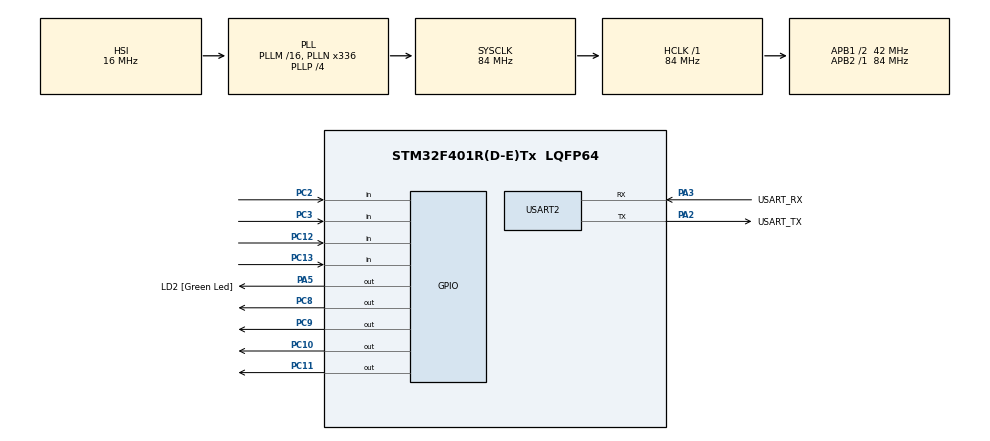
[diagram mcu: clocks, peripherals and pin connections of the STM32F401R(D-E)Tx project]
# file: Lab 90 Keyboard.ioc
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Mcu.Family=STM32F4
Mcu.Name=STM32F401R(D-E)Tx
Mcu.Package=LQFP64
NVIC.PriorityGroup=NVIC_PRIORITYGROUP_0
PA13.GPIO_Label=TMS
PA13.Mode=Serial_Wire
PA13.Signal=SYS_JTMS-SWDIO
PA14.GPIO_Label=TCK
PA14.Mode=Serial_Wire
PA14.Signal=SYS_JTCK-SWCLK
PA2.GPIO_Label=USART_TX
PA2.GPIO_Mode=GPIO_MODE_AF_PP
PA2.GPIO_PuPd=GPIO_NOPULL
PA2.GPIO_Speed=GPIO_SPEED_FREQ_LOW
PA2.Mode=Asynchronous
PA2.Signal=USART2_TX
PA3.GPIO_Label=USART_RX
PA3.GPIO_Mode=GPIO_MODE_AF_PP
PA3.GPIO_PuPd=GPIO_NOPULL
PA3.GPIO_Speed=GPIO_SPEED_FREQ_LOW
PA3.Mode=Asynchronous
PA3.Signal=USART2_RX
PA5.GPIO_Label=LD2 [Green Led]
PA5.GPIO_Mode=GPIO_MODE_OUTPUT_PP
PA5.GPIO_PuPd=GPIO_NOPULL
PA5.GPIO_Speed=GPIO_SPEED_FREQ_LOW
PA5.Signal=GPIO_Output
PB3.GPIO_Label=SWO
PB3.Signal=SYS_JTDO-SWO
PC10.Signal=GPIO_Output
PC11.Signal=GPIO_Output
PC12.Signal=GPIO_Input
PC13-ANTI_TAMP.Signal=GPIO_Input
PC14-OSC32_IN.Mode=LSE-External-Oscillator
PC14-OSC32_IN.Signal=RCC_OSC32_IN
PC15-OSC32_OUT.Mode=LSE-External-Oscillator
PC15-OSC32_OUT.Signal=RCC_OSC32_OUT
PC2.Signal=GPIO_Input
PC3.Signal=GPIO_Input
PC8.Signal=GPIO_Output
PC9.Signal=GPIO_Output
PH0\ -\ OSC_IN.Mode=HSE-External-Clock-Source
PH0\ -\ OSC_IN.Signal=RCC_OSC_IN
PH1\ -\ OSC_OUT.Mode=HSE-External-Clock-Source
PH1\ -\ OSC_OUT.Signal=RCC_OSC_OUT
ProjectManager.HeapSize=0x200
ProjectManager.StackSize=0x400
ProjectManager.TargetToolchain=STM32CubeIDE
RCC.48MHZClocksFreq_Value=48000000
RCC.AHBFreq_Value=84000000
RCC.APB1CLKDivider=RCC_HCLK_DIV2
RCC.APB1Freq_Value=42000000
RCC.APB1TimFreq_Value=84000000
RCC.APB2Freq_Value=84000000
RCC.APB2TimFreq_Value=84000000
RCC.CortexFreq_Value=84000000
RCC.HCLKFreq_Value=84000000
RCC.HSE_VALUE=8000000
RCC.HSI_VALUE=16000000
RCC.PLLN=336
RCC.PLLP=RCC_PLLP_DIV4
RCC.PLLQ=7
RCC.SYSCLKFreq_VALUE=84000000
RCC.SYSCLKSource=RCC_SYSCLKSOURCE_PLLCLK
RCC.VCOOutputFreq_Value=336000000
USART2.VirtualMode=VM_ASYNC
board=NUCLEO-F401RE

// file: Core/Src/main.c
/* USER CODE BEGIN Header */
/**
  ******************************************************************************
  * @file           : main.c
  * @brief          : Main program body
  ******************************************************************************
  * @attention
  *
  * Copyright (c) 2023 STMicroelectronics.
  * All rights reserved.
  *
  * This software is licensed under terms that can be found in the LICENSE file
  * in the root directory of this software component.
  * If no LICENSE file comes with this software, it is provided AS-IS.
  *
  ******************************************************************************
  */
/* USER CODE END Header */
#include "main.h"

UART_HandleTypeDef huart2;

/* USER CODE BEGIN PV */
//uint16_t input[] = {GPIO_PIN_2, GPIO_PIN_3, GPIO_PIN_12, GPIO_PIN_13};
uint16_t input[] = {GPIO_PIN_3, GPIO_PIN_2, GPIO_PIN_13, GPIO_PIN_12};
uint16_t output[] = {GPIO_PIN_8, GPIO_PIN_9, GPIO_PIN_10, GPIO_PIN_11};

/* USER CODE END PV */

void SystemClock_Config(void);
static void MX_GPIO_Init(void);
static void MX_USART2_UART_Init(void);

int main(void)
{

  /* MCU Configuration--------------------------------------------------------*/

  /* Reset of all peripherals, Initializes the Flash interface and the Systick. */
  HAL_Init();

  /* Configure the system clock */
  SystemClock_Config();

  /* Initialize all configured peripherals */
  MX_GPIO_Init();
  MX_USART2_UART_Init();
  /* USER CODE BEGIN 2 */
  char state[16];
  for(int i = 0; i < 16; i++){
	  state[i] = 0;
  }
  char lett[16] = {'C', 'D', 'E', 'F', '8', '9', 'A', 'B', '4', '5', '6', '7', '0', '1', '2', '3'};
  /* USER CODE END 2 */

  /* Infinite loop */
  /* USER CODE BEGIN WHILE */
  while (1)
  {
	  char string[128];
	  for(int i = 0; i < 4; i++){
		  HAL_GPIO_WritePin(GPIOC, output[i], 1);
		  HAL_Delay(10);
		  for(int j = 0; j < 4; j++){
			  int on = !HAL_GPIO_ReadPin(GPIOC, input[j]);
			  if( on && state[i+j*4] == 0){
				  int size = sprintf(string, "%c\r\n", lett[i+j*4]);
				  HAL_UART_Transmit(&huart2, string, size, 50);
				  state[i+j*4] = 1;
			  }else if(!on && state[i+j*4] == 1){
				  state[i+j*4] = 0;
			  }
		  }
		  HAL_GPIO_WritePin(GPIOC, output[i], 0);
		  HAL_Delay(10);
	  }

    /* USER CODE END WHILE */

  }
}

void SystemClock_Config(void)
{
  RCC_OscInitTypeDef RCC_OscInitStruct = {0};
  RCC_ClkInitTypeDef RCC_ClkInitStruct = {0};

  /** Configure the main internal regulator output voltage
  */
  __HAL_RCC_PWR_CLK_ENABLE();
  __HAL_PWR_VOLTAGESCALING_CONFIG(PWR_REGULATOR_VOLTAGE_SCALE2);

  /** Initializes the RCC Oscillators according to the specified parameters
  * in the RCC_OscInitTypeDef structure.
  */
  RCC_OscInitStruct.OscillatorType = RCC_OSCILLATORTYPE_HSI;
  RCC_OscInitStruct.HSIState = RCC_HSI_ON;
  RCC_OscInitStruct.HSICalibrationValue = RCC_HSICALIBRATION_DEFAULT;
  RCC_OscInitStruct.PLL.PLLState = RCC_PLL_ON;
  RCC_OscInitStruct.PLL.PLLSource = RCC_PLLSOURCE_HSI;
  RCC_OscInitStruct.PLL.PLLM = 16;
  RCC_OscInitStruct.PLL.PLLN = 336;
  RCC_OscInitStruct.PLL.PLLP = RCC_PLLP_DIV4;
  RCC_OscInitStruct.PLL.PLLQ = 7;
  if (HAL_RCC_OscConfig(&RCC_OscInitStruct) != HAL_OK)
  {
    Error_Handler();
  }

  /** Initializes the CPU, AHB and APB buses clocks
  */
  RCC_ClkInitStruct.ClockType = RCC_CLOCKTYPE_HCLK|RCC_CLOCKTYPE_SYSCLK
                              |RCC_CLOCKTYPE_PCLK1|RCC_CLOCKTYPE_PCLK2;
  RCC_ClkInitStruct.SYSCLKSource = RCC_SYSCLKSOURCE_PLLCLK;
  RCC_ClkInitStruct.AHBCLKDivider = RCC_SYSCLK_DIV1;
  RCC_ClkInitStruct.APB1CLKDivider = RCC_HCLK_DIV2;
  RCC_ClkInitStruct.APB2CLKDivider = RCC_HCLK_DIV1;

  if (HAL_RCC_ClockConfig(&RCC_ClkInitStruct, FLASH_LATENCY_2) != HAL_OK)
  {
    Error_Handler();
  }
}

static void MX_USART2_UART_Init(void)
{

  huart2.Instance = USART2;
  huart2.Init.BaudRate = 115200;
  huart2.Init.WordLength = UART_WORDLENGTH_8B;
  huart2.Init.StopBits = UART_STOPBITS_1;
  huart2.Init.Parity = UART_PARITY_NONE;
  huart2.Init.Mode = UART_MODE_TX_RX;
  huart2.Init.HwFlowCtl = UART_HWCONTROL_NONE;
  huart2.Init.OverSampling = UART_OVERSAMPLING_16;
  if (HAL_UART_Init(&huart2) != HAL_OK)
  {
    Error_Handler();
  }

}

static void MX_GPIO_Init(void)
{
  GPIO_InitTypeDef GPIO_InitStruct = {0};

  /* GPIO Ports Clock Enable */
  __HAL_RCC_GPIOC_CLK_ENABLE();
  __HAL_RCC_GPIOH_CLK_ENABLE();
  __HAL_RCC_GPIOA_CLK_ENABLE();
  __HAL_RCC_GPIOB_CLK_ENABLE();

  /*Configure GPIO pin Output Level */
  HAL_GPIO_WritePin(LD2_GPIO_Port, LD2_Pin, GPIO_PIN_RESET);

  /*Configure GPIO pin Output Level */
  HAL_GPIO_WritePin(GPIOC, GPIO_PIN_8|GPIO_PIN_9|GPIO_PIN_10|GPIO_PIN_11, GPIO_PIN_RESET);

  /*Configure GPIO pins : PC13 PC2 PC3 PC12 */
  GPIO_InitStruct.Pin = GPIO_PIN_13|GPIO_PIN_2|GPIO_PIN_3|GPIO_PIN_12;
  GPIO_InitStruct.Mode = GPIO_MODE_INPUT;
  GPIO_InitStruct.Pull = GPIO_NOPULL;
  HAL_GPIO_Init(GPIOC, &GPIO_InitStruct);

  /*Configure GPIO pin : LD2_Pin */
  GPIO_InitStruct.Pin = LD2_Pin;
  GPIO_InitStruct.Mode = GPIO_MODE_OUTPUT_PP;
  GPIO_InitStruct.Pull = GPIO_NOPULL;
  GPIO_InitStruct.Speed = GPIO_SPEED_FREQ_LOW;
  HAL_GPIO_Init(LD2_GPIO_Port, &GPIO_InitStruct);

  /*Configure GPIO pins : PC8 PC9 PC10 PC11 */
  GPIO_InitStruct.Pin = GPIO_PIN_8|GPIO_PIN_9|GPIO_PIN_10|GPIO_PIN_11;
  GPIO_InitStruct.Mode = GPIO_MODE_OUTPUT_PP;
  GPIO_InitStruct.Pull = GPIO_NOPULL;
  GPIO_InitStruct.Speed = GPIO_SPEED_FREQ_LOW;
  HAL_GPIO_Init(GPIOC, &GPIO_InitStruct);

}

void Error_Handler(void)
{
  __disable_irq();
  while (1)
  {
  }
}
